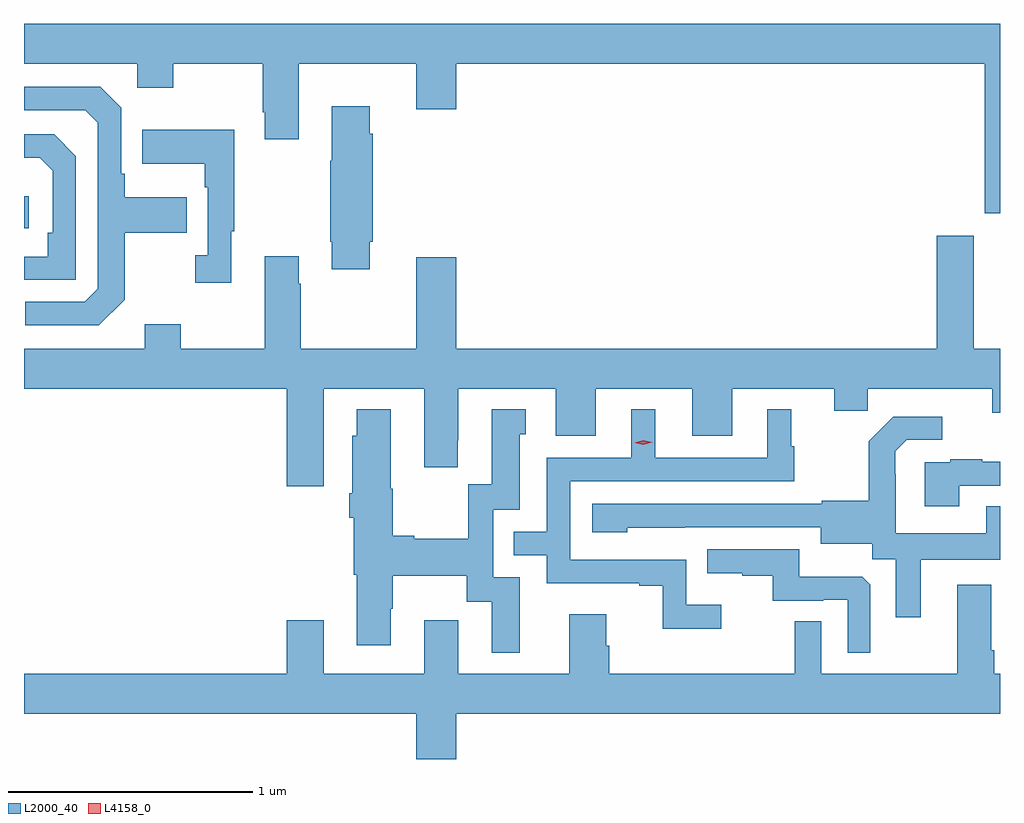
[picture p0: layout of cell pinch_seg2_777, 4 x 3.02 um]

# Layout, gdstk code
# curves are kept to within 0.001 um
import gdstk
lib = gdstk.Library(unit=1e-6, precision=1e-09)
def R(c, l, rs):  # rectangles x0, y0, x1, y1
    for r in rs: c.add(gdstk.rectangle(r[:2], r[2:], *l))
def P(c, l, *ps):  # polygons
    for p in ps: c.add(gdstk.Polygon(p, *l))
L2000_40 = (2000, 40)
L4158_0 = (4158, 0)

pinch_seg2_777 = lib.new_cell('pinch_seg2_777')
R(pinch_seg2_777, L2000_40, [(738.825,600.342,738.844,600.472)])
P(pinch_seg2_777, L2000_40, [(742.825,601.18),(738.825,601.18),(738.825,601.016),(739.29,601.016),(739.29,600.917),(739.437,600.917),(739.437,601.016),(739.804,601.016),(739.804,600.817),(739.811,600.817),(739.811,600.705),(739.951,600.705),(739.951,601.016),(740.432,601.016),(740.432,600.828),(740.596,600.828),(740.596,601.016),(742.763,601.016),(742.763,600.402),(742.825,600.402)],
  [(739.237,600.049),(739.237,600.322),(739.493,600.322),(739.493,600.469),(739.237,600.469),(739.237,600.565),(739.224,600.565),(739.224,600.834),(739.137,600.921),(738.825,600.921),(738.825,600.825),(739.077,600.825),(739.128,600.774),(739.128,600.093),(739.074,600.039),(738.831,600.039),(738.831,599.943),(739.131,599.943)],
  [(740.242,600.286),(740.255,600.286),(740.255,600.728),(740.242,600.728),(740.242,600.841),(740.087,600.841),(740.087,600.617),(740.08,600.617),(740.08,600.286),(740.087,600.286),(740.087,600.174),(740.242,600.174)],
  [(739.675,600.329),(739.687,600.329),(739.687,600.745),(739.309,600.745),(739.309,600.605),(739.566,600.605),(739.566,600.509),(739.578,600.509),(739.578,600.23),(739.527,600.23),(739.527,600.117),(739.675,600.117)],
  [(739.038,600.636),(738.948,600.726),(738.825,600.726),(738.825,600.629),(738.889,600.629),(738.942,600.576),(738.942,600.322),(738.922,600.322),(738.922,600.225),(738.825,600.225),(738.825,600.129),(739.038,600.129)],
  [(740.053,599.684),(740.465,599.684),(740.465,599.361),(740.602,599.361),(740.602,599.473),(740.605,599.473),(740.605,599.684),(741.005,599.684),(741.005,599.49),(741.169,599.49),(741.169,599.684),(741.563,599.684),(741.563,599.49),(741.727,599.49),(741.727,599.684),(742.145,599.684),(742.145,599.594),(742.283,599.594),(742.283,599.684),(742.793,599.684),(742.793,599.585),(742.825,599.585),(742.825,599.848),(742.717,599.848),(742.717,600.31),(742.565,600.31),(742.565,599.848),(740.596,599.848),(740.596,600.223),(740.432,600.223),(740.432,599.848),(739.959,599.848),(739.959,600.113),(739.951,600.113),(739.951,600.226),(739.811,600.226),(739.811,599.848),(739.467,599.848),(739.467,599.947),(739.319,599.947),(739.319,599.848),(738.825,599.848),(738.825,599.684),(739.901,599.684),(739.901,599.283),(740.053,599.283)],
  [(741.682,598.798),(741.54,598.798),(741.54,598.983),(741.063,598.983),(741.063,599.304),(741.982,599.304),(741.982,599.448),(741.97,599.448),(741.97,599.599),(741.872,599.599),(741.872,599.4),(741.412,599.4),(741.412,599.599),(741.314,599.599),(741.314,599.4),(740.967,599.4),(740.967,599.097),(740.833,599.097),(740.833,599.001),(740.967,599.001),(740.967,598.887),(741.347,598.887),(741.347,598.875),(741.442,598.875),(741.442,598.7),(741.682,598.7)],
  [(740.857,598.911),(740.748,598.911),(740.748,599.187),(740.857,599.187),(740.857,599.496),(740.881,599.496),(740.881,599.599),(740.741,599.599),(740.741,599.292),(740.645,599.292),(740.645,599.068),(740.425,599.068),(740.425,599.081),(740.337,599.081),(740.337,599.273),(740.329,599.273),(740.329,599.599),(740.189,599.599),(740.189,599.49),(740.171,599.49),(740.171,599.254),(740.159,599.254),(740.159,599.154),(740.177,599.154),(740.177,598.92),(740.189,598.92),(740.189,598.632),(740.329,598.632),(740.329,598.782),(740.337,598.782),(740.337,598.916),(740.64,598.916),(740.64,598.81),(740.741,598.81),(740.741,598.602),(740.857,598.602)],
  [(742.501,598.982),(742.825,598.982),(742.825,599.201),(742.769,599.201),(742.769,599.092),(742.398,599.092),(742.398,599.333),(742.396,599.333),(742.396,599.428),(742.443,599.475),(742.588,599.475),(742.588,599.569),(742.387,599.569),(742.287,599.469),(742.287,599.224),(742.095,599.224),(742.095,599.211),(741.153,599.211),(741.153,599.096),(741.297,599.096),(741.297,599.114),(742.091,599.115),(742.091,599.048),(742.302,599.048),(742.302,598.984),(742.397,598.984),(742.397,598.746),(742.501,598.746)],
  [(742.657,599.286),(742.825,599.286),(742.825,599.384),(742.753,599.384),(742.753,599.395),(742.621,599.395),(742.621,599.382),(742.517,599.382),(742.517,599.202),(742.657,599.202)],
  [(742.293,598.881),(742.261,598.913),(742.003,598.913),(742.003,599.025),(741.625,599.025),(741.625,598.928),(741.769,598.928),(741.769,598.917),(741.893,598.917),(741.893,598.815),(742.1,598.815),(742.1,598.818),(742.2,598.818),(742.2,598.601),(742.293,598.601)],
  [(740.596,598.352),(742.825,598.352),(742.825,598.516),(742.802,598.516),(742.802,598.612),(742.789,598.612),(742.789,598.879),(742.649,598.879),(742.649,598.516),(742.092,598.516),(742.092,598.73),(741.984,598.73),(741.984,598.516),(741.224,598.516),(741.224,598.629),(741.211,598.629),(741.211,598.759),(741.059,598.759),(741.059,598.516),(740.605,598.516),(740.605,598.735),(740.465,598.735),(740.465,598.516),(740.053,598.516),(740.053,598.735),(739.901,598.735),(739.901,598.516),(738.825,598.516),(738.825,598.352),(740.432,598.352),(740.432,598.164),(740.596,598.164)])
P(pinch_seg2_777, L4158_0, [(741.363,599.453),(741.328,599.461),(741.327,599.462),(741.328,599.462),(741.363,599.473),(741.398,599.464),(741.399,599.464),(741.398,599.464)])

lib.write_gds('pinch_seg2_777.gds')
